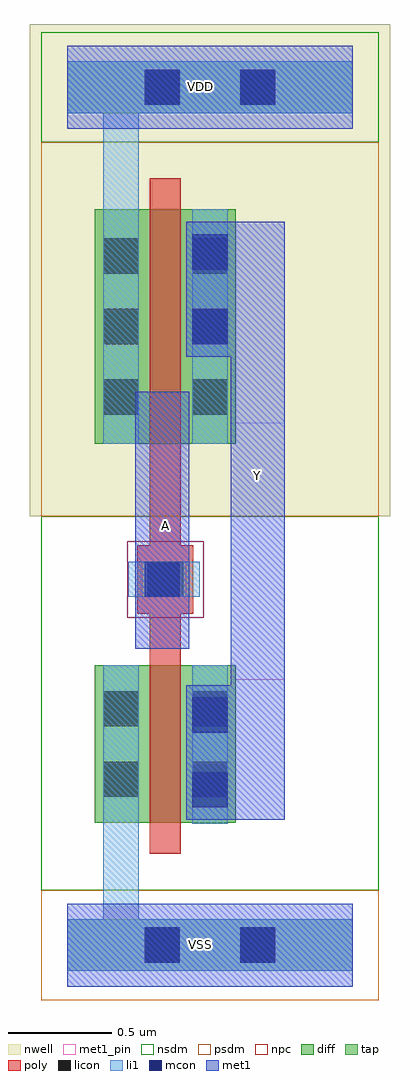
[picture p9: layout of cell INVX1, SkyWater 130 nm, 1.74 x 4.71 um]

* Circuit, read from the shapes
.subckt INVX1 A VDD VSS Y
XM1 Y A VSS VSS sky130_fd_pr__nfet_01v8 w=0.76 l=0.15
XM2 Y A VDD VDD sky130_fd_pr__pfet_01v8 w=1.13 l=0.15
.ends

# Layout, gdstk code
from math import pi, radians
import gdstk
lib = gdstk.Library(unit=1e-6, precision=1e-09)
def R(c, l, rs):  # rectangles x0, y0, x1, y1
    for r in rs: c.add(gdstk.rectangle(r[:2], r[2:], *l))
def A(c, l, x, y, w, h, nx, ny, dx, dy):  # array of equal rectangles
    R(c, l, [(x+i*dx, y+j*dy, x+i*dx+w, y+j*dy+h) for i in range(nx) for j in range(ny)])
def P(c, l, *ps):  # polygons
    for p in ps: c.add(gdstk.Polygon(p, *l))
nwell = (64, 20)
diff = (65, 20)
tap = (65, 44)
poly = (66, 20)
licon = (66, 44)
li1 = (67, 20)
mcon = (67, 44)
met1_pin = (68, 16)
met1 = (68, 20)
nsdm = (93, 44)
psdm = (94, 20)
npc = (95, 20)

pyl1con_c_cdns_751554744 = lib.new_cell('PYL1CON_C_CDNS_751554744751')
R(pyl1con_c_cdns_751554744, poly, [(-0.135,-0.165,0.135,0.165)])
R(pyl1con_c_cdns_751554744, licon, [(-0.085,-0.085,0.085,0.085)])
R(pyl1con_c_cdns_751554744, npc, [(-0.185,-0.185,0.185,0.185)])

l1m1_c_cdns_751554744750 = lib.new_cell('L1M1_C_CDNS_751554744750$$7')
R(l1m1_c_cdns_751554744750, li1, [(-0.085,-0.345,0.085,0.345)])
R(l1m1_c_cdns_751554744750, mcon, [(-0.085,-0.265,0.085,-0.095), (-0.085,0.095,0.085,0.265)])
R(l1m1_c_cdns_751554744750, met1, [(-0.115,-0.325,0.115,0.325)])

c_l1m1_c_cdns_751554744750 = lib.new_cell('L1M1_C_CDNS_751554744750$$9')
R(c_l1m1_c_cdns_751554744750, li1, [(-0.165,-0.085,0.165,0.085)])
R(c_l1m1_c_cdns_751554744750, mcon, [(-0.085,-0.085,0.085,0.085)])
R(c_l1m1_c_cdns_751554744750, met1, [(-0.115,-0.145,0.115,0.145)])

invx1 = lib.new_cell('INVX1')
R(invx1, nwell, [(-0.18,2.07,1.56,4.445)])
R(invx1, diff, [(0.135,0.59,0.815,1.35), (0.135,2.42,0.815,3.55)])
R(invx1, poly, [(0.4,0.44,0.55,3.7)])
A(invx1, licon, 0.175, 2.56, 0.17, 0.17, 1, 3, 0, 0.34)
A(invx1, licon, 0.605, 2.56, 0.17, 0.17, 1, 3, 0, 0.34)
R(invx1, licon, [(0.375,-0.085,0.545,0.085), (0.835,-0.085,1.005,0.085), (0.175,0.715,0.345,0.885), (0.605,0.715,0.775,0.885), (0.175,1.055,0.345,1.225), (0.605,1.055,0.775,1.225), (0.375,4.055,0.545,4.225), (0.835,4.055,1.005,4.225)])
R(invx1, li1, [(0.605,0.59,0.775,1.35), (0.605,2.42,0.775,3.55)])
P(invx1, li1, [(1.38,0.125),(0.345,0.125),(0.345,1.35),(0.175,1.35),(0.175,0.125),(0,0.125),(0,-0.125),(1.38,-0.125)],
  [(1.38,4.265),(0,4.265),(0,4.015),(0.175,4.015),(0.175,2.42),(0.345,2.42),(0.345,4.015),(1.38,4.015)])
R(invx1, mcon, [(0.375,-0.085,0.545,0.085), (0.835,-0.085,1.005,0.085), (0.375,4.055,0.545,4.225), (0.835,4.055,1.005,4.225)])
R(invx1, met1_pin, [(0.79,1.28,1.05,2.52), (0.33,1.43,0.59,2.67)])
R(invx1, nsdm, [(-0.125,0.265,1.505,2.07), (-0.125,3.875,1.505,4.405)])
R(invx1, psdm, [(-0.125,-0.265,1.505,0.265), (-0.125,2.07,1.505,3.875)])
invx1.add(gdstk.FlexPath([(0,0),(1.38,0)], 0.4, ends="flush", simple_path=True, layer=68, datatype=20))  # met1
invx1.add(gdstk.FlexPath([(0.46,1.43),(0.46,2.67)], 0.26, ends="flush", simple_path=True, layer=68, datatype=20))  # met1
invx1.add(gdstk.FlexPath([(0,4.14),(1.38,4.14)], 0.4, ends="flush", simple_path=True, layer=68, datatype=20))  # met1
invx1.add(gdstk.FlexPath([(0.92,3.49),(0.92,0.605)], 0.26, ends="flush", simple_path=True, layer=68, datatype=20))  # met1
invx1.add(gdstk.FlexPath([(0,0),(1.38,0)], 0.25, ends="flush", simple_path=True, layer=65, datatype=44))  # tap
invx1.add(gdstk.FlexPath([(0,4.14),(1.38,4.14)], 0.25, ends="flush", simple_path=True, layer=65, datatype=44))  # tap
invx1.add(gdstk.FlexPath([(0.295,1.765),(0.64,1.765)], 0.17, ends="flush", simple_path=True, layer=67, datatype=20))  # li1
invx1.add(gdstk.FlexPath([(0,0),(1.38,0)], 0.4, ends="flush", simple_path=True, layer=68, datatype=16))  # met1_pin
invx1.add(gdstk.FlexPath([(0,4.14),(1.38,4.14)], 0.4, ends="flush", simple_path=True, layer=68, datatype=16))  # met1_pin
invx1.add(gdstk.Reference(pyl1con_c_cdns_751554744, (0.475,1.765), rotation=pi, x_reflection=True))
invx1.add(gdstk.Reference(l1m1_c_cdns_751554744750, (0.69,0.93)))
invx1.add(gdstk.Reference(l1m1_c_cdns_751554744750, (0.69,3.165)))
invx1.add(gdstk.Reference(c_l1m1_c_cdns_751554744750, (0.46,1.765), x_reflection=True))
invx1.add(gdstk.Label('Y', (0.92,2.265), layer=68, texttype=5))
invx1.add(gdstk.Label('A', (0.475,2.025), layer=68, texttype=5))
invx1.add(gdstk.Label('VSS', (0.645,0.005), layer=68, texttype=5))
invx1.add(gdstk.Label('VDD', (0.645,4.145), layer=68, texttype=5))

lib.write_gds('INVX1.gds')
